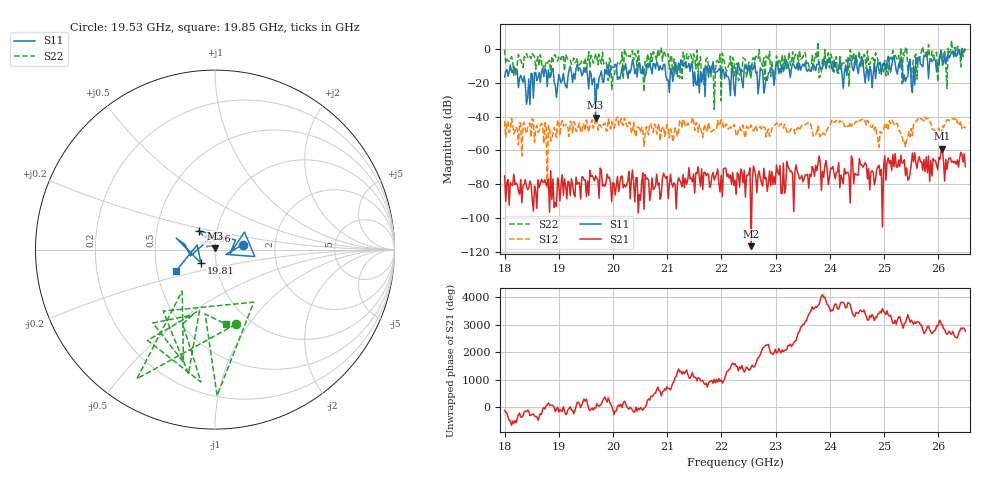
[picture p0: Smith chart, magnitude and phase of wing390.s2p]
!Keysight Technologies,N5242B,MY47200105,A.14.00.23
!Date: Friday, May 10, 2024 11:20:58
!Correction: S11(C  2-Port  )
!S21(C  2-Port  )
!S12(C  2-Port  )
!S22(C  2-Port  )
!S2P File: Measurement: :
# Hz S  RI  R 50
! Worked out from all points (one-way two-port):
!   401 points, 18 GHz to 26.5 GHz, reference 50 ohm
!   highest |S21| = -58.83 dB at 26.07 GHz (marker M1); lowest = -116.6 dB at 22.55 GHz (marker M2)
!   lowest |S11| = -40.7 dB at 19.68 GHz (marker M3), VSWR 1.02, Z = 50.2 + j0.894 ohm
!   |S11| at or under -10 dB: 18.11 GHz to 19.33 GHz (1.222 GHz wide, 6.53 % of centre); 19.35 GHz to 19.9 GHz (549.9 MHz wide, 2.8 % of centre); 21.86 GHz to 22.3 GHz (445 MHz wide, 2.02 % of centre) (the widest 3 of 57)
!   |S22| runs from -35.7 to 5.1 dB; largest |S21 - S12| = 0.01
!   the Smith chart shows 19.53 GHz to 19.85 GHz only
!   S11 on the Smith chart (normalised r, x): 19.53 GHz: 1.37, +0.08; 19.66 GHz: 0.82, +0.17; 19.81 GHz: 0.85, -0.13; 19.85 GHz: 0.63, -0.16
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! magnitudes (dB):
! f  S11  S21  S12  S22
! 18 GHz  -16.6  -75.0  -42.6  -0.3
! 18.43 GHz  -28.9  -83.3  -46.5  -4.9
! 18.72 GHz  -16.2  -79.1  -55.9  -9.3
! 18.83 GHz  -16.9  -96.5  -46.0  -6.6
! 19.42 GHz  -15.8  -75.6  -49.4  -6.5
! 19.53 GHz  -16.0  -78.0  -45.1  -7.3
! 19.66 GHz  -17.1  -78.0  -45.4  -6.9
! 19.68 GHz  -40.7  -75.0  -40.3  -2.6
! 19.81 GHz  -19.4  -81.1  -46.5  -1.8
! 19.85 GHz  -12.1  -81.3  -43.8  -7.6
! 20.55 GHz  -10.2  -73.3  -47.5  -13.7
! 20.85 GHz  -12.6  -79.2  -44.1  -4.5
! 21.23 GHz  -12.5  -77.5  -42.3  -17.2
! 21.4 GHz  -8.4  -70.2  -44.8  -4.1
! 21.85 GHz  -7.4  -73.0  -47.8  -8.9
! 22.25 GHz  -27.7  -77.5  -46.0  -15.9
! 22.55 GHz  -9.5  -116.6  -44.8  -17.4
! 23.67 GHz  -10.5  -69.4  -48.3  -3.8
! 25.1 GHz  -9.2  -67.7  -42.4  -6.3
! 25.52 GHz  -25.7  -61.5  -51.4  -10.1
! 26.07 GHz  -5.9  -58.8  -45.7  -9.5
! 26.5 GHz  -0.5  -69.6  -46.8  0.4
